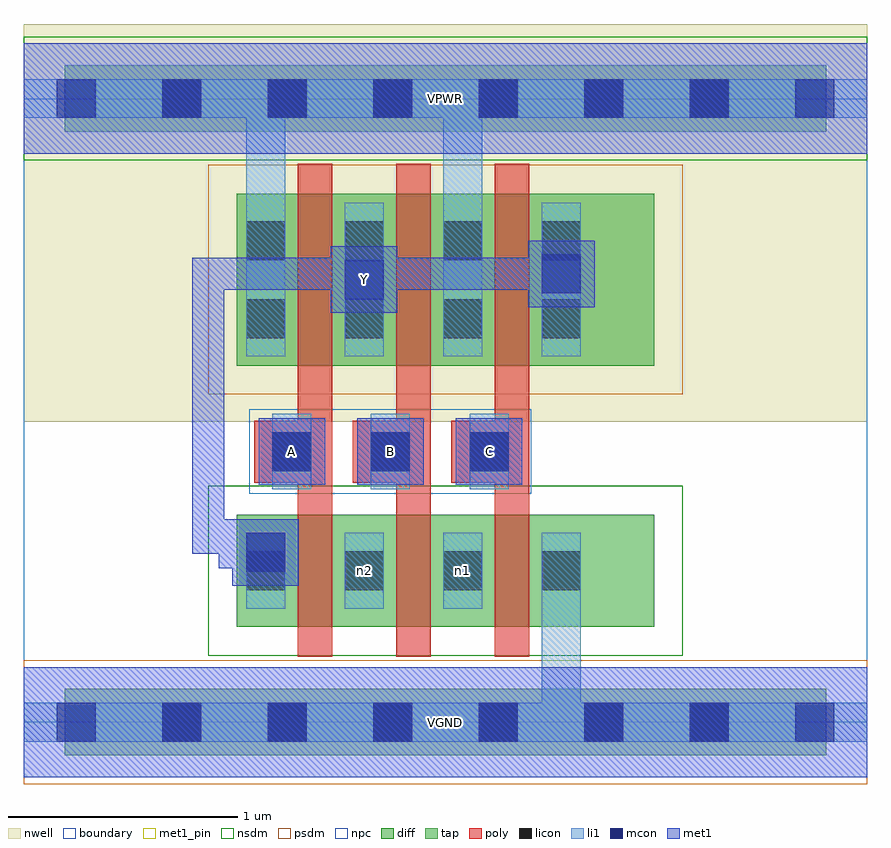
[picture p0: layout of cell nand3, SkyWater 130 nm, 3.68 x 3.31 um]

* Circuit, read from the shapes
.subckt nand3 A B C VGND VPWR Y n1 n2
XM1 n2 A Y VGND sky130_fd_pr__nfet_01v8 w=0.49 l=0.15
XM2 n1 B n2 VGND sky130_fd_pr__nfet_01v8 w=0.49 l=0.15
XM3 VGND C n1 VGND sky130_fd_pr__nfet_01v8 w=0.49 l=0.15
XM4 Y A VPWR VPWR sky130_fd_pr__pfet_01v8 w=0.75 l=0.15
XM5 VPWR B Y VPWR sky130_fd_pr__pfet_01v8 w=0.75 l=0.15
XM6 Y C VPWR VPWR sky130_fd_pr__pfet_01v8 w=0.75 l=0.15
.ends

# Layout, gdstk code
import gdstk
lib = gdstk.Library(unit=1e-6, precision=1e-09)
def R(c, l, rs):  # rectangles x0, y0, x1, y1
    for r in rs: c.add(gdstk.rectangle(r[:2], r[2:], *l))
def A(c, l, x, y, w, h, nx, ny, dx, dy):  # array of equal rectangles
    R(c, l, [(x+i*dx, y+j*dy, x+i*dx+w, y+j*dy+h) for i in range(nx) for j in range(ny)])
nwell = (64, 20)
diff = (65, 20)
tap = (65, 44)
poly = (66, 20)
licon = (66, 44)
li1 = (67, 20)
mcon = (67, 44)
met1_pin = (68, 16)
met1 = (68, 20)
nsdm = (93, 44)
psdm = (94, 20)
npc = (95, 20)
boundary = (235, 4)

nand3 = lib.new_cell('nand3')
R(nand3, nwell, [(0,1.31,3.68,3.045)])
R(nand3, diff, [(0.93,0.415,2.75,0.905), (0.93,1.555,2.75,2.305)])
R(nand3, tap, [(0.18,-0.145,3.5,0.145), (0.18,2.575,3.5,2.865)])
A(nand3, poly, 1.195, 0.285, 0.15, 2.15, 3, 1, 0.43, 0)
A(nand3, poly, 1.005, 1.045, 0.33, 0.27, 3, 1, 0.43, 0)
A(nand3, licon, 0.605, -0.085, 0.17, 0.17, 6, 2, 0.46, 2.72)
A(nand3, licon, 0.97, 0.575, 0.17, 0.17, 4, 2, 0.43, 1.1)
A(nand3, licon, 1.085, 1.095, 0.17, 0.17, 3, 1, 0.43, 0)
A(nand3, licon, 0.97, 2.015, 0.17, 0.17, 4, 1, 0.43, 0)
A(nand3, li1, 0.97, 0.495, 0.17, 0.33, 4, 1, 0.43, 0)
A(nand3, li1, 1.085, 1.015, 0.17, 0.33, 3, 1, 0.43, 0)
A(nand3, li1, 0.97, 1.595, 0.17, 0.67, 4, 1, 0.43, 0)
R(nand3, li1, [(0,-0.085,3.68,0.085), (2.26,-0.085,2.43,0.825), (0.97,1.595,1.14,2.805), (1.83,1.595,2,2.805), (0,2.635,3.68,2.805)])
A(nand3, mcon, 0.145, -0.085, 0.17, 0.17, 8, 2, 0.46, 2.72)
A(nand3, mcon, 1.085, 1.095, 0.17, 0.17, 3, 1, 0.43, 0)
R(nand3, mcon, [(0.97,0.655,1.14,0.825), (1.4,1.845,1.57,2.015), (2.26,1.87,2.43,2.04)])
A(nand3, met1_pin, 1.025, 1.035, 0.29, 0.29, 3, 1, 0.43, 0)
R(nand3, met1_pin, [(0,-0.24,3.68,0.24), (1.34,1.785,1.63,2.075), (0,2.48,3.68,2.96)])
A(nand3, met1, 1.025, 1.035, 0.29, 0.29, 3, 1, 0.43, 0)
R(nand3, met1, [(0,-0.24,3.68,0.24), (0.91,0.595,1.2,0.885), (0.85,0.67,1.125,0.81), (0.85,0.67,0.99,0.875), (0.735,0.735,0.875,2.025), (0.735,0.735,0.99,0.875), (0.875,0.735,0.91,0.885), (1.34,1.785,1.63,2.075), (2.2,1.81,2.49,2.1), (0.735,1.885,1.565,2.025), (1.425,1.885,1.565,2.025), (1.425,1.885,2.255,2.025), (2.115,1.885,2.415,2.025), (0,2.48,3.68,2.96)])
R(nand3, nsdm, [(0.805,0.29,2.875,1.03), (0,2.45,3.68,2.99)])
R(nand3, psdm, [(0,-0.27,3.68,0.27), (0.805,1.43,2.875,2.43)])
R(nand3, npc, [(0.985,0.995,2.215,1.365)])
R(nand3, boundary, [(0,0,3.68,2.72)])
nand3.add(gdstk.Label('n2', (1.485,0.66), layer=67, texttype=5))
nand3.add(gdstk.Label('n1', (1.915,0.66), layer=67, texttype=5))
nand3.add(gdstk.Label('A', (1.17,1.18), layer=68, texttype=5))
nand3.add(gdstk.Label('B', (1.6,1.18), layer=68, texttype=5))
nand3.add(gdstk.Label('C', (2.03,1.18), layer=68, texttype=5))
nand3.add(gdstk.Label('Y', (1.485,1.93), layer=68, texttype=5))
nand3.add(gdstk.Label('VPWR', (1.84,2.72), layer=68, texttype=5))
nand3.add(gdstk.Label('VGND', (1.84,0), layer=68, texttype=5))
nand3.add(gdstk.Label('A', (1.17,1.18), layer=68, texttype=16))
nand3.add(gdstk.Label('B', (1.6,1.18), layer=68, texttype=16))
nand3.add(gdstk.Label('C', (2.03,1.18), layer=68, texttype=16))
nand3.add(gdstk.Label('Y', (1.485,1.93), layer=68, texttype=16))
nand3.add(gdstk.Label('VPWR', (1.84,2.72), layer=68, texttype=16))
nand3.add(gdstk.Label('VGND', (1.84,0), layer=68, texttype=16))

lib.write_gds('nand3.gds')
